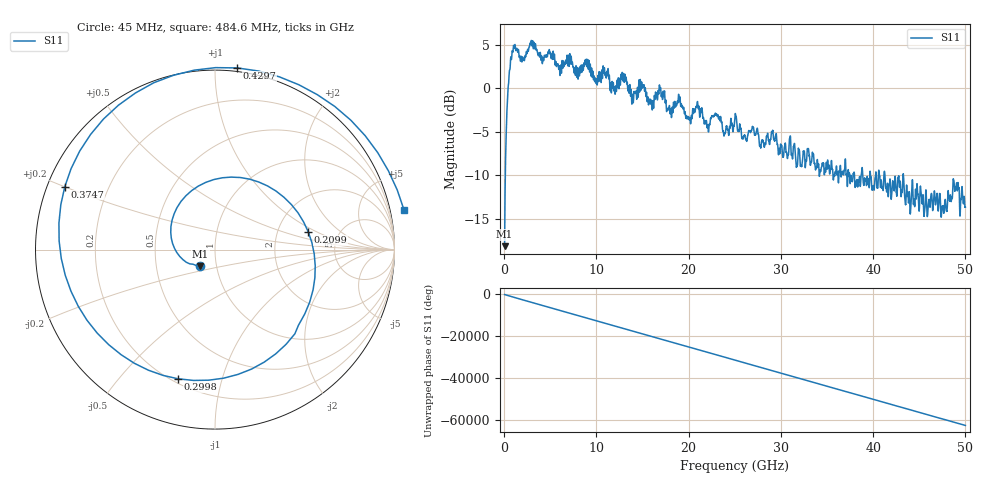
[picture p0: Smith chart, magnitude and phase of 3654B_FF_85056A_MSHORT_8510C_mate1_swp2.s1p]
!Created with skrf (http://scikit-rf.org).
# Hz S RI R 50.0
!freq ReS11 ImS11
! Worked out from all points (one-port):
!   10001 points, 45 MHz to 50 GHz, reference 50 ohm
!   lowest |S11| = -18.1 dB at 45 MHz (marker M1), VSWR 1.28, Z = 41.8 - j7.93 ohm
!   |S11| at or under -10 dB: 38.86 GHz to 39.63 GHz (770.8 MHz wide, 1.96 % of centre); 41.28 GHz to 43.24 GHz (1.963 GHz wide, 4.65 % of centre); 43.29 GHz to end of sweep (the widest 3 of 17)
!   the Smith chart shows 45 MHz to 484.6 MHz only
!   S11 on the Smith chart (normalised r, x): 45 MHz: 0.84, -0.16; 209.9 MHz: 3.00, +0.82; 299.8 MHz: 0.22, -0.73; 374.7 MHz: 0.05, +0.20; 429.7 MHz: -0.02, +1.13; 484.6 MHz: -3.07, +8.56
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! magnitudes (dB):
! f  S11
! 45 MHz  -18.1
! 209.9 MHz  -5.5
! 299.8 MHz  -2.5
! 374.7 MHz  -0.8
! 429.7 MHz  0.2
! 484.6 MHz  0.6
! 794.3 MHz  3.4
! 1.174 GHz  5.0
! 1.978 GHz  3.6
! 3.027 GHz  4.9
! 6.289 GHz  3.2
! 12.53 GHz  1.1
! 13.91 GHz  -0.7
! 14.96 GHz  0.0
! 15.99 GHz  -1.5
! 17.03 GHz  -0.9
! 17.94 GHz  -2.2
! 18.78 GHz  -1.5
! 20.92 GHz  -1.7
! 22.06 GHz  -4.2
! 25.02 GHz  -3.1
! 26.08 GHz  -5.4
! 31.27 GHz  -8.1
! 37.51 GHz  -10.9
! 43.76 GHz  -11.9
! 47.54 GHz  -13.5
! 48.88 GHz  -11.6
! 50 GHz  -13.6
